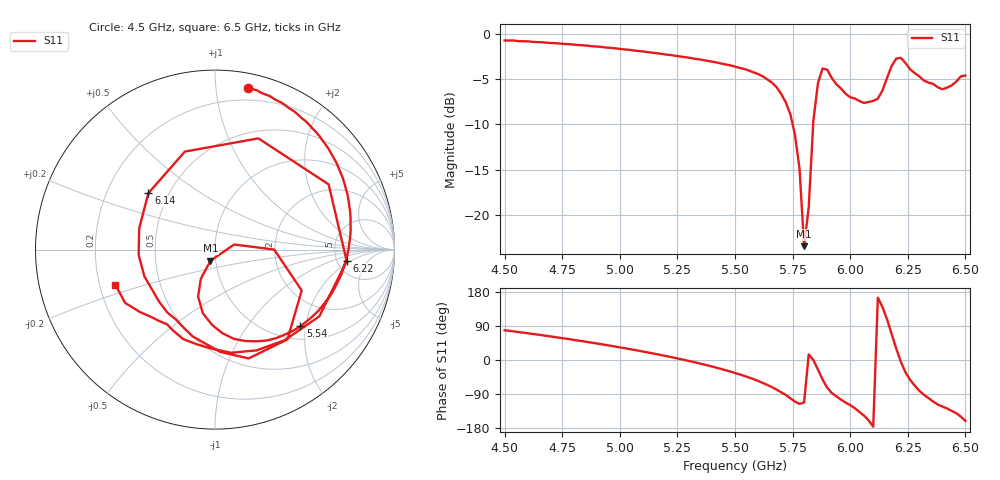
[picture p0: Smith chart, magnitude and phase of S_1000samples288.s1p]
! TOUCHSTONE file generated by CST MICROWAVE STUDIO
! Date and time: Thu Oct 27 15:37:06 2022
! Project name: L.cst
! Parameters = {Di=1.27; Epsilon_r=1.56; InnerDiameter=1.27; Length=2; Lf=10; Lg=60; OuterConductorThickness=0.2921; OuterDiameter=3.6; Wf=3; Wp=41.2; de=1.5; df=6.8; g=0.8; gx=0.96045; gy=2.63464; h=2.34; hf=1.524; px=8.46239; py=14.2832; w=9.7; wx=7.50194; wy=11.6486}
! Header version: 2018
! Port assignment regex: !\s*Touchstone port\s*([0-9]+)\s*=\s*(CST MWS port|CST DS port)\s*([0-9]+|Zmin|Zmax)\s*\(\"(.*)\"\)(\s*mode\s*([0-9]+))?.*
! Touchstone port assignment:
! Touchstone port 1 = CST MWS port 1 ("")
# GHz S DB R 50
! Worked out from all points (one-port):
!   101 points, 4.5 GHz to 6.5 GHz, reference 50 ohm
!   lowest |S11| = -23.4 dB at 5.8 GHz (marker M1), VSWR 1.14, Z = 47.2 - j5.92 ohm
!   |S11| at or under -10 dB: 5.75 GHz to 5.839 GHz (89.02 MHz wide, 1.54 % of centre)
!   S11 on the Smith chart (normalised r, x): 4.5 GHz: 0.11, +1.22; 5.54 GHz: 1.29, -1.87; 6.14 GHz: 0.39, +0.32; 6.22 GHz: 6.10, -1.69; 6.5 GHz: 0.27, -0.16
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4.5  -0.74 78.4
4.76  -1.13 56.8
5  -1.67 33.4
5.26  -2.50 2.9
5.5  -3.62 -34.3
5.54  -3.88 -41.9
5.68  -5.88 -78.1
5.76  -11.10 -109.8
5.78  -14.86 -115.9
5.8  -23.42 -112.1
5.82  -19.14 14.9
5.84  -9.64 0.0
5.86  -5.45 -25.2
5.88  -3.84 -51.1
5.9  -3.95 -72.8
5.94  -5.57 -95.8
6  -7.00 -119.0
6.08  -7.52 -159.3
6.14  -6.26 139.8
6.16  -4.86 107.1
6.18  -3.54 68.7
6.2  -2.73 29.9
6.22  -2.66 -4.9
6.24  -3.22 -32.6
6.26  -3.92 -52.3
6.3  -4.70 -81.1
6.36  -5.53 -109.6
6.5  -4.60 -160.5
